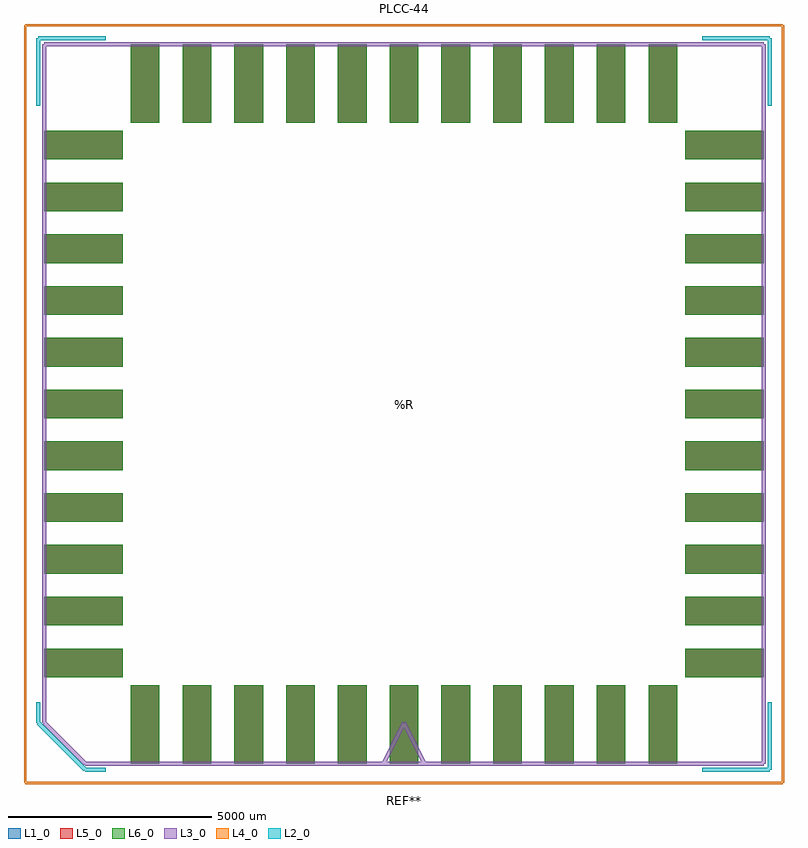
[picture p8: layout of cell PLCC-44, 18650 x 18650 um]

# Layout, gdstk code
import gdstk
lib = gdstk.Library(unit=1e-6, precision=1e-09)
def R(c, l, rs):  # rectangles x0, y0, x1, y1
    for r in rs: c.add(gdstk.rectangle(r[:2], r[2:], *l))
def A(c, l, x, y, w, h, nx, ny, dx, dy):  # array of equal rectangles
    R(c, l, [(x+i*dx, y+j*dy, x+i*dx+w, y+j*dy+h) for i in range(nx) for j in range(ny)])
L1_0 = (1, 0)
L2_0 = (2, 0)
L3_0 = (3, 0)
L4_0 = (4, 0)
L5_0 = (5, 0)
L6_0 = (6, 0)

plcc_44 = lib.new_cell('PLCC-44')
A(plcc_44, L1_0, -6700, -8825, 700, 1925, 11, 2, 1270, 15725)
A(plcc_44, L1_0, -8825, -6700, 1925, 700, 1, 11, 0, 1270)
A(plcc_44, L1_0, 6900, -6700, 1925, 700, 1, 11, 0, 1270)
A(plcc_44, L5_0, -6700, -8825, 700, 1925, 11, 2, 1270, 15725)
A(plcc_44, L5_0, -8825, -6700, 1925, 700, 1, 11, 0, 1270)
A(plcc_44, L5_0, 6900, -6700, 1925, 700, 1, 11, 0, 1270)
A(plcc_44, L6_0, -6700, -8825, 700, 1925, 11, 2, 1270, 15725)
A(plcc_44, L6_0, -8825, -6700, 1925, 700, 1, 11, 0, 1270)
A(plcc_44, L6_0, 6900, -6700, 1925, 700, 1, 11, 0, 1270)
plcc_44.add(gdstk.FlexPath([(-7825,-8825),(-8825,-7825)], 100, ends="flush", simple_path=True, layer=3, datatype=0))  # L3_0
plcc_44.add(gdstk.FlexPath([(-8825,-7825),(-8825,8825)], 100, ends="flush", simple_path=True, layer=3, datatype=0))  # L3_0
plcc_44.add(gdstk.FlexPath([(-8825,8825),(8825,8825)], 100, ends="flush", simple_path=True, layer=3, datatype=0))  # L3_0
plcc_44.add(gdstk.FlexPath([(8825,8825),(8825,-8825)], 100, ends="flush", simple_path=True, layer=3, datatype=0))  # L3_0
plcc_44.add(gdstk.FlexPath([(8825,-8825),(-7825,-8825)], 100, ends="flush", simple_path=True, layer=3, datatype=0))  # L3_0
plcc_44.add(gdstk.FlexPath([(-9300,-9300),(-9300,9300)], 50, ends="flush", simple_path=True, layer=4, datatype=0))  # L4_0
plcc_44.add(gdstk.FlexPath([(-9300,9300),(9300,9300)], 50, ends="flush", simple_path=True, layer=4, datatype=0))  # L4_0
plcc_44.add(gdstk.FlexPath([(9300,9300),(9300,-9300)], 50, ends="flush", simple_path=True, layer=4, datatype=0))  # L4_0
plcc_44.add(gdstk.FlexPath([(9300,-9300),(-9300,-9300)], 50, ends="flush", simple_path=True, layer=4, datatype=0))  # L4_0
plcc_44.add(gdstk.FlexPath([(-500,-8825),(0,-7825)], 100, ends="flush", simple_path=True, layer=3, datatype=0))  # L3_0
plcc_44.add(gdstk.FlexPath([(0,-7825),(500,-8825)], 100, ends="flush", simple_path=True, layer=3, datatype=0))  # L3_0
plcc_44.add(gdstk.FlexPath([(-7325,-8975),(-7825,-8975)], 100, ends="flush", simple_path=True, layer=2, datatype=0))  # L2_0
plcc_44.add(gdstk.FlexPath([(-7825,-8975),(-8975,-7825)], 100, ends="flush", simple_path=True, layer=2, datatype=0))  # L2_0
plcc_44.add(gdstk.FlexPath([(-8975,-7825),(-8975,-7325)], 100, ends="flush", simple_path=True, layer=2, datatype=0))  # L2_0
plcc_44.add(gdstk.FlexPath([(7325,-8975),(8975,-8975)], 100, ends="flush", simple_path=True, layer=2, datatype=0))  # L2_0
plcc_44.add(gdstk.FlexPath([(8975,-8975),(8975,-7325)], 100, ends="flush", simple_path=True, layer=2, datatype=0))  # L2_0
plcc_44.add(gdstk.FlexPath([(-7325,8975),(-8975,8975)], 100, ends="flush", simple_path=True, layer=2, datatype=0))  # L2_0
plcc_44.add(gdstk.FlexPath([(-8975,8975),(-8975,7325)], 100, ends="flush", simple_path=True, layer=2, datatype=0))  # L2_0
plcc_44.add(gdstk.FlexPath([(7325,8975),(8975,8975)], 100, ends="flush", simple_path=True, layer=2, datatype=0))  # L2_0
plcc_44.add(gdstk.FlexPath([(8975,8975),(8975,7325)], 100, ends="flush", simple_path=True, layer=2, datatype=0))  # L2_0
plcc_44.add(gdstk.Label('REF**', (0,-9825), layer=2, texttype=0))
plcc_44.add(gdstk.Label('PLCC-44', (0,9825), layer=3, texttype=0))
plcc_44.add(gdstk.Label('%R', (0,0), layer=3, texttype=0))

lib.write_gds('PLCC-44.gds')
